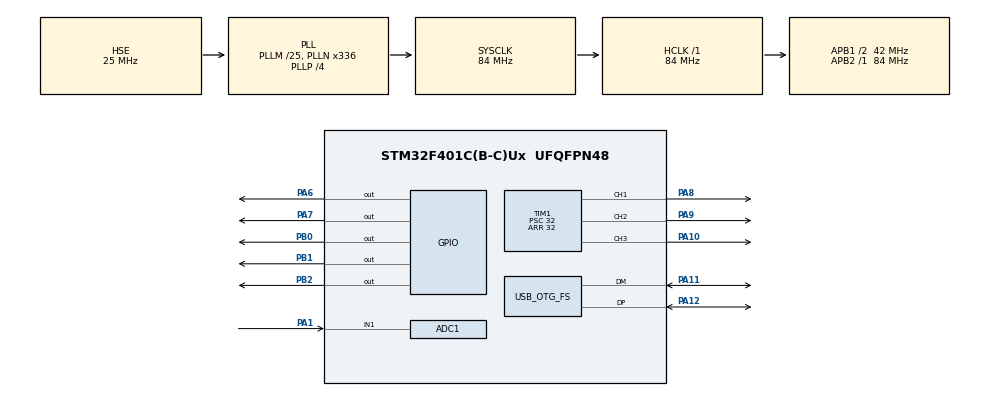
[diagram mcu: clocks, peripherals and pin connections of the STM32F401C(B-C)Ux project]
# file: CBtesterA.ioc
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ADC1.Channel-0\#ChannelRegularConversion=ADC_CHANNEL_1
ADC1.ClockPrescaler=ADC_CLOCK_SYNC_PCLK_DIV4
ADC1.DMAContinuousRequests=DISABLE
ADC1.ExternalTrigConv=ADC_EXTERNALTRIGCONV_T2_TRGO
ADC1.NbrOfConversionFlag=1
ADC1.Rank-0\#ChannelRegularConversion=1
ADC1.Resolution=ADC_RESOLUTION_12B
ADC1.SamplingTime-0\#ChannelRegularConversion=ADC_SAMPLETIME_3CYCLES
ADC1.master=1
Dma.ADC1.0.Direction=DMA_PERIPH_TO_MEMORY
Dma.ADC1.0.FIFOMode=DMA_FIFOMODE_DISABLE
Dma.ADC1.0.Instance=DMA2_Stream0
Dma.ADC1.0.MemDataAlignment=DMA_MDATAALIGN_HALFWORD
Dma.ADC1.0.MemInc=DMA_MINC_ENABLE
Dma.ADC1.0.Mode=DMA_CIRCULAR
Dma.ADC1.0.PeriphDataAlignment=DMA_PDATAALIGN_HALFWORD
Dma.ADC1.0.PeriphInc=DMA_PINC_DISABLE
Dma.ADC1.0.Priority=DMA_PRIORITY_LOW
Dma.Request0=ADC1
Mcu.Family=STM32F4
Mcu.Name=STM32F401C(B-C)Ux
Mcu.Package=UFQFPN48
NVIC.ADC_IRQn=true\:0\:0\:false\:false\:true\:true\:true\:true
NVIC.DMA2_Stream0_IRQn=true\:0\:0\:false\:false\:true\:false\:true\:true
NVIC.OTG_FS_IRQn=true\:0\:0\:false\:false\:true\:false\:true\:true
NVIC.PriorityGroup=NVIC_PRIORITYGROUP_4
PA1.Signal=ADCx_IN1
PA10.Signal=S_TIM1_CH3
PA11.Mode=Device_Only
PA11.Signal=USB_OTG_FS_DM
PA12.Mode=Device_Only
PA12.Signal=USB_OTG_FS_DP
PA6.PinState=GPIO_PIN_SET
PA6.Signal=GPIO_Output
PA7.PinState=GPIO_PIN_RESET
PA7.Signal=GPIO_Output
PA8.Signal=S_TIM1_CH1
PA9.Signal=S_TIM1_CH2
PB0.Signal=GPIO_Output
PB1.PinState=GPIO_PIN_SET
PB1.Signal=GPIO_Output
PB2.PinState=GPIO_PIN_SET
PB2.Signal=GPIO_Output
PH0\ -\ OSC_IN.Mode=HSE-External-Oscillator
PH0\ -\ OSC_IN.Signal=RCC_OSC_IN
PH1\ -\ OSC_OUT.Mode=HSE-External-Oscillator
PH1\ -\ OSC_OUT.Signal=RCC_OSC_OUT
ProjectManager.HeapSize=0x200
ProjectManager.StackSize=0x400
ProjectManager.TargetToolchain=STM32CubeIDE
RCC.48MHZClocksFreq_Value=48000000
RCC.AHBFreq_Value=84000000
RCC.APB1CLKDivider=RCC_HCLK_DIV2
RCC.APB1Freq_Value=42000000
RCC.APB1TimFreq_Value=84000000
RCC.APB2Freq_Value=84000000
RCC.APB2TimFreq_Value=84000000
RCC.CortexFreq_Value=84000000
RCC.HCLKFreq_Value=84000000
RCC.HSE_VALUE=25000000
RCC.HSI_VALUE=16000000
RCC.LSE_VALUE=32768
RCC.PLLM=25
RCC.PLLN=336
RCC.PLLP=RCC_PLLP_DIV4
RCC.PLLQ=7
RCC.SYSCLKFreq_VALUE=84000000
RCC.SYSCLKSource=RCC_SYSCLKSOURCE_PLLCLK
RCC.VCOOutputFreq_Value=336000000
SH.ADCx_IN1.0=ADC1_IN1,IN1
SH.S_TIM1_CH1.0=TIM1_CH1,PWM Generation1 CH1
SH.S_TIM1_CH2.0=TIM1_CH2,PWM Generation2 CH2
SH.S_TIM1_CH3.0=TIM1_CH3,PWM Generation3 CH3
TIM1.AutoReloadPreload=TIM_AUTORELOAD_PRELOAD_ENABLE
TIM1.Channel-PWM\ Generation1\ CH1=TIM_CHANNEL_1
TIM1.Channel-PWM\ Generation2\ CH2=TIM_CHANNEL_2
TIM1.Channel-PWM\ Generation3\ CH3=TIM_CHANNEL_3
TIM1.Period=32
TIM1.Prescaler=32
TIM1.Pulse-PWM\ Generation1\ CH1=8
TIM1.Pulse-PWM\ Generation2\ CH2=8
TIM2.AutoReloadPreload=TIM_AUTORELOAD_PRELOAD_ENABLE
TIM2.Period=50
TIM2.Prescaler=128
TIM2.TIM_MasterOutputTrigger=TIM_TRGO_UPDATE
USB_DEVICE.CLASS_NAME_FS=CDC
USB_DEVICE.VirtualMode=Cdc
USB_DEVICE.VirtualModeFS=Cdc_FS
USB_OTG_FS.VirtualMode=Device_Only
VP_TIM1_VS_ClockSourceINT.Mode=Internal
VP_TIM2_VS_ClockSourceINT.Mode=Internal
VP_USB_DEVICE_VS_USB_DEVICE_CDC_FS.Mode=CDC_FS
board=custom

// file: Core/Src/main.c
/* USER CODE BEGIN Header */
/**
  ******************************************************************************
  * @file           : main.c
  * @brief          : Main program body
  ******************************************************************************
  * @attention
  *
  * This [signal_gen] branch does not have complete code of CBTester functionalities. Switch to TCT branch
  * for the full CBTester codes.
  *
  * This code is written for BlackPill STM32F401CCU6 which has USB-C connector.
  * It also has DFU out of the box. But it does not work on Win7 Laptop properly.
  * USB DFU Mode once or twice, When I activated CDC USB VCP, after that Win7
  * cannot identify the DFU device. But the VCP is okay.
  *
  * This branch called signal_gen is for generating signals by receiving an array data from
  * VCP. Callback upon data receive is in static int8_t CDC_Receive_FS(uint8_t* Buf, uint32_t *Len)
  * function from USB_DEVICE/App/usbd_cdc_if.c file. Need to receive 100 to 200 integer or float data
  * to an array.
  *
  *
  *
  *
  ******************************************************************************
  */
#include "usbd_cdc_if.h"
extern __IO uint32_t uwTick;
/* USER CODE END Header */
#include "main.h"
#include "usb_device.h"

ADC_HandleTypeDef hadc1;
DMA_HandleTypeDef hdma_adc1;

TIM_HandleTypeDef htim1;
TIM_HandleTypeDef htim2;

void SystemClock_Config(void);
static void MX_GPIO_Init(void);
static void MX_DMA_Init(void);
static void MX_ADC1_Init(void);
static void MX_TIM2_Init(void);
static void MX_TIM1_Init(void);

/* USER CODE BEGIN 0 */

typedef struct __SEQUENCE
{
	int stone1;
	int duration1;
	int stone2;
	int duration2;
	int stone3;
	int duration3;
} PULSEQUENCE;

//PULSEQUENCE pulses = {1000, 10, 1330, 15, 1650, 18};

PULSEQUENCE pulses = {160, 10, 330, 15, 550, 18};

uint32_t mscount = 0;
uint32_t _pulse_count = 0;

uint8_t usb_rx_buffer[64];
volatile uint8_t flag_usbrx = 0;
int rx_buffer_content_size = 0;

char strA1[50];
volatile uint16_t ad1_raw[5];
const int adcChannelCount = 1;
volatile int adcConversionComplete = 0;
volatile uint32_t millis = 0;
volatile uint32_t conv_rate = 0;
volatile uint32_t ad1_audio = 0;

uint32_t buf_idx = 0;
uint8_t buf_num = 1;
uint32_t buf1[5000];
uint32_t buf2[5000];

uint8_t flag_pulse_out = 0;
uint32_t *buf = buf2;

long map(long x, long in_min, long in_max, long out_min, long out_max)
{
  return (x - in_min) * (out_max - out_min) / (in_max - in_min) + out_min;
}

void DMA_ADC_Complete(DMA_HandleTypeDef *_hdma)
{

}

static float ADC_OLD_Value;
static float P_k1_k1;

//static float Q = 0.0001;//Q: Regulation noise, Q increases, dynamic response becomes faster, and convergence stability becomes worse
static float Q = 0.0005;//Q: Regulation noise, Q increases, dynamic response becomes faster, and convergence stability becomes worse
//static float R = 0.005; //R: Test noise, R increases, dynamic response becomes slower, convergence stability becomes better
static float R = 0.2;
static float Kg = 0;
static float P_k_k1 = 0.5;
static float kalman_adc_old=0;
static int kalman_adc_int = 0;

uint8_t  trip1 = 0;

unsigned long kalman_filter(unsigned long ADC_Value)
{
    float x_k1_k1,x_k_k1;
    //static float ADC_OLD_Value;
    float Z_k;

    float kalman_adc;

    Z_k = ADC_Value;
    x_k1_k1 = kalman_adc_old;

    x_k_k1 = x_k1_k1;
    P_k_k1 = P_k1_k1 + Q;

    Kg = P_k_k1/(P_k_k1 + R);

    kalman_adc = x_k_k1 + Kg * (Z_k - kalman_adc_old);
    P_k1_k1 = (1 - Kg)*P_k_k1;
    P_k_k1 = P_k1_k1;

    ADC_OLD_Value = ADC_Value;
    kalman_adc_old = kalman_adc;
    kalman_adc_int = (int)kalman_adc;
    return kalman_adc;
}

void HAL_ADC_ConvCpltCallback(ADC_HandleTypeDef* hadc)
{
	adcConversionComplete = 1;
	conv_rate++;
	ad1_audio = ad1_raw[0]; //32;
	//TIM1->CCR1 = ad1_audio;

	if(buf_num == 1)
	{
		if(buf_idx < 2000)
		{
			buf1[buf_idx] = ad1_audio;
			// <PWM OUTPUT> TIM1->CCR1 = kalman_filter(buf2[buf_idx]);
			kalman_adc_int = kalman_filter(buf2[buf_idx]);
			buf_idx++;
		}
		else
		{
			buf_num = 2;
			buf_idx = 0;
		}
	}
	else if(buf_num == 2)
	{
		if(buf_idx < 2000)
		{
			buf2[buf_idx] = ad1_audio;
			// <PWM OUTPUT> TIM1->CCR1 = kalman_filter(buf1[buf_idx]);
			kalman_adc_int = kalman_filter(buf1[buf_idx]);
			buf_idx++;
		}
		else
		{
			buf_num = 1;
			buf_idx = 0;
		}
	}

	if(kalman_adc_int > 320)
	{
		trip1 = 1;
		//HAL_GPIO_WritePin(GPIOB, GPIO_PIN_0, GPIO_PIN_SET);

		//flag_pulse_out = 1;
	}

	HAL_ADC_Start_DMA(&hadc1, (uint32_t *)ad1_raw, adcChannelCount);

}

/**************************
 * Following callback did not worked. It was referenced from drive.google/ARM/docs.drop/PRIMARY/ARM-CMSIS-7.html
 * Documentation. Please update the docs in the proper places. This callback may work by applying proper
 * configuration. Instead we are using HAL_GetTick() which is same as millis(). To enable this callback to work
 * add HAL_SYSTICK_IRQHandler(); to stm32f4xx_it.c -> void SysTick_Handler(void)
 */
#define MAX_PWM_ALL		20
uint32_t _pwm_slope = 0;
void HAL_SYSTICK_Callback(void)
{
	if(flag_pulse_out == 1)
	{
		millis++;

		if(millis > pulses.stone3)
		{
			if(_pulse_count < pulses.duration3)
			{
				_pulse_count++;
				if(_pulse_count < pulses.duration3)
				{
					if(_pwm_slope < MAX_PWM_ALL)
					{
						_pwm_slope += (MAX_PWM_ALL / pulses.duration3);
						TIM1->CCR2 = _pwm_slope;
					}
				}
				else
				{
					TIM1->CCR2 = 0;

					// END THIS PULSE SEQUENCE
					_pwm_slope = 0;
					flag_pulse_out = 0;
					millis = 0;
					_pulse_count = 0;
					trip1 = 1;
					HAL_GPIO_WritePin(GPIOB, GPIO_PIN_0, GPIO_PIN_SET);
					//// TEST HAL_GPIO_WritePin(GPIOB, GPIO_PIN_1, GPIO_PIN_RESET);
				}
			}
		}
		else if(millis > pulses.stone2)
		{
			if(_pulse_count < pulses.duration2)
			{
				_pulse_count++;
				if(_pulse_count < pulses.duration2)
				{
					if(_pwm_slope < MAX_PWM_ALL)
					{
						_pwm_slope += ((MAX_PWM_ALL / pulses.duration2) + 1);
						TIM1->CCR3 = _pwm_slope;
					}
				}
				else
				{
					TIM1->CCR3 = 0;
					_pwm_slope = 0;
				}
			}

			if(millis == (pulses.stone2 + 100))
			{
				trip1 = 1;
				HAL_GPIO_WritePin(GPIOB, GPIO_PIN_0, GPIO_PIN_RESET);
			}

			if(millis == pulses.stone3)
			{
				_pulse_count = 0;
//				trip1 = 1;
//				HAL_GPIO_WritePin(GPIOB, GPIO_PIN_0, GPIO_PIN_SET);
			}
		}
		else if(millis > pulses.stone1)
		{
			if(_pulse_count < pulses.duration1)
			{
				_pulse_count++;
				if(_pulse_count < pulses.duration1)
				{
					if(_pwm_slope < MAX_PWM_ALL)
					{
						_pwm_slope += ((MAX_PWM_ALL / pulses.duration1) + 1);
						TIM1->CCR1 = _pwm_slope;
					}
					HAL_GPIO_WritePin(GPIOB, GPIO_PIN_0, GPIO_PIN_RESET);
					//// TEST HAL_GPIO_WritePin(GPIOB, GPIO_PIN_1, GPIO_PIN_RESET);
				}
				else
				{
					TIM1->CCR1 = 0;
					_pwm_slope = 0;
					trip1 = 1;
					//// TEST HAL_GPIO_WritePin(GPIOB, GPIO_PIN_0, GPIO_PIN_SET);
					//// TEST HAL_GPIO_WritePin(GPIOB, GPIO_PIN_1, GPIO_PIN_RESET);

					//// TEST HAL_GPIO_WritePin(GPIOA, GPIO_PIN_7, GPIO_PIN_SET);
					//// TEST HAL_GPIO_WritePin(GPIOA, GPIO_PIN_6, GPIO_PIN_SET);
				}
			}
			else
			{
				////TEST HAL_GPIO_WritePin(GPIOB, GPIO_PIN_0, GPIO_PIN_RESET);
				////TEST HAL_GPIO_WritePin(GPIOB, GPIO_PIN_1, GPIO_PIN_SET);
			}

			if(millis == pulses.stone2)
			{
				_pulse_count = 0;
			}
		}
	}

	if(flag_pulse_out == 2)
		{
			millis++;

			if(millis > pulses.stone3)
			{
				if(_pulse_count < pulses.duration3)
				{
					_pulse_count++;
					if(_pulse_count < pulses.duration3)
					{
						if(_pwm_slope < MAX_PWM_ALL)
						{
							_pwm_slope += (MAX_PWM_ALL / pulses.duration3);
							TIM1->CCR2 = _pwm_slope;
						}
					}
					else
					{
						TIM1->CCR2 = 0;

						// END THIS PULSE SEQUENCE
						_pwm_slope = 0;
						flag_pulse_out = 0;
						millis = 0;
						_pulse_count = 0;
						trip1 = 1;
						//// TEST HAL_GPIO_WritePin(GPIOB, GPIO_PIN_0, GPIO_PIN_SET);
						HAL_GPIO_WritePin(GPIOB, GPIO_PIN_1, GPIO_PIN_SET);
					}
				}
			}
			else if(millis > pulses.stone2)
			{
				if(_pulse_count < pulses.duration2)
				{
					_pulse_count++;
					if(_pulse_count < pulses.duration2)
					{
						if(_pwm_slope < MAX_PWM_ALL)
						{
							_pwm_slope += ((MAX_PWM_ALL / pulses.duration2) + 1);
							TIM1->CCR3 = _pwm_slope;
						}
					}
					else
					{
						TIM1->CCR3 = 0;
						_pwm_slope = 0;
					}
				}

				if(millis == (pulses.stone2 + 100))
				{
					trip1 = 1;
					HAL_GPIO_WritePin(GPIOB, GPIO_PIN_1, GPIO_PIN_RESET); //// TEST was PIN0
				}

				if(millis == pulses.stone3)
				{
					_pulse_count = 0;
	//				trip1 = 1;
	//				HAL_GPIO_WritePin(GPIOB, GPIO_PIN_0, GPIO_PIN_SET);
				}
			}
			else if(millis > pulses.stone1)
			{
				if(_pulse_count < pulses.duration1)
				{
					_pulse_count++;
					if(_pulse_count < pulses.duration1)
					{
						if(_pwm_slope < MAX_PWM_ALL)
						{
							_pwm_slope += ((MAX_PWM_ALL / pulses.duration1) + 1);
							TIM1->CCR1 = _pwm_slope;
						}
						//// TEST HAL_GPIO_WritePin(GPIOB, GPIO_PIN_0, GPIO_PIN_RESET);
						HAL_GPIO_WritePin(GPIOB, GPIO_PIN_1, GPIO_PIN_RESET);
					}
					else
					{
						TIM1->CCR1 = 0;
						_pwm_slope = 0;
						trip1 = 1;
						//// TEST HAL_GPIO_WritePin(GPIOB, GPIO_PIN_0, GPIO_PIN_SET);
						//// TEST HAL_GPIO_WritePin(GPIOB, GPIO_PIN_1, GPIO_PIN_RESET);

						//// TEST HAL_GPIO_WritePin(GPIOA, GPIO_PIN_7, GPIO_PIN_SET);
						//// TEST HAL_GPIO_WritePin(GPIOA, GPIO_PIN_6, GPIO_PIN_SET);
					}
				}
				else
				{
					////TEST HAL_GPIO_WritePin(GPIOB, GPIO_PIN_0, GPIO_PIN_RESET);
					////TEST HAL_GPIO_WritePin(GPIOB, GPIO_PIN_1, GPIO_PIN_SET);
				}

				if(millis == pulses.stone2)
				{
					_pulse_count = 0;
				}
			}
		}
}

void enableTriggerOut(char *buff)
{
	if(buff[0] == '1')
	{
		flag_pulse_out = 1;
	}

	if(buff[0] == '2')
	{
		flag_pulse_out = 2;
	}
}

/* USER CODE END 0 */

int main(void)
{
  /* USER CODE BEGIN 1 */

  uint32_t a_shot = 0;
  uint32_t b_shot = 0;

  /* USER CODE END 1 */

  /* MCU Configuration--------------------------------------------------------*/

  /* Reset of all peripherals, Initializes the Flash interface and the Systick. */
  HAL_Init();

  /* Configure the system clock */
  SystemClock_Config();

  /* Initialize all configured peripherals */
  MX_GPIO_Init();
  MX_DMA_Init();
  MX_ADC1_Init();
  MX_TIM2_Init();
  MX_USB_DEVICE_Init();
  MX_TIM1_Init();
  /* USER CODE BEGIN 2 */

  	 //// TESTING
  ////HAL_GPIO_WritePin(GPIOB, GPIO_PIN_1|GPIO_PIN_2, GPIO_PIN_RESET);
  /*Configure GPIO pin Output Level */
    HAL_GPIO_WritePin(GPIOA, GPIO_PIN_6, GPIO_PIN_SET);
    /*Configure GPIO pin Output Level */
    HAL_GPIO_WritePin(GPIOA, GPIO_PIN_7, GPIO_PIN_SET);
    /*Configure GPIO pin Output Level */
    HAL_GPIO_WritePin(GPIOB, GPIO_PIN_0, GPIO_PIN_SET);

  //HAL_DMA_Start_IT(&hdma_adc1, SrcAddress, DstAddress, DataLength);

  HAL_ADC_Start_DMA(&hadc1, (uint32_t *)ad1_raw, adcChannelCount);

  HAL_TIM_Base_Start(&htim2);

  // <PWM OUTPUT>
  HAL_TIM_PWM_Start(&htim1, TIM_CHANNEL_1);
  HAL_TIM_PWM_Start(&htim1, TIM_CHANNEL_2);
  HAL_TIM_PWM_Start(&htim1, TIM_CHANNEL_3);

  TIM1->CCR1 = 0;
  b_shot = HAL_GetTick();
  HAL_Delay(1);
  TIM1->CCR1 = 0;
  TIM1->CCR2 = 0;
  TIM1->CCR3 = 0;

  // <NO NEED> CDC_Init_FS();

  /* USER CODE END 2 */

  /* Infinite loop */
  /* USER CODE BEGIN WHILE */
  while (1)
  {
	  if(HAL_GetTick() > (a_shot + 1000))
	  {
		  a_shot = HAL_GetTick();
		  if(adcConversionComplete == 1)
		  {
			  adcConversionComplete = 0;
			  //ad1_audio = ad1_raw[0] / 32; // map(ad1_raw[1], 0, 4096, 0, 254);
			  //sprintf(strA1, "A1:%d,Rate:%d,Map:%d\n", ad1_raw[0], conv_rate, ad1_audio);
			  sprintf(strA1, "A1:%d,Kalman:%d,Map:%d,Rate:%d\n", ad1_raw[0], kalman_adc_int, ad1_audio, conv_rate); // @suppress("Float formatting support")
			  CDC_Transmit_FS(strA1, strlen(strA1));
			  conv_rate = 0;
			  //TIM1->CCR1 = ad1_audio;

			  //In the video example following function is called at the end of every conversion.
			  //But my goal is to start the conversion from the trigger of the TIM2
			  //HAL_ADC_Start_DMA(&hadc1, (uint32_t *)ad1_raw, adcChannelCount);
		  }

		  //// CDC_Transmit_FS(".", 1);
	  }

	  if(HAL_GetTick() > (b_shot + 3000))
	  {
		  b_shot = HAL_GetTick();

		  //TIM1->CCR1 = 250;
		  //HAL_Delay(10);
		  //TIM1->CCR1 = 0;

		  //HAL_GPIO_WritePin(GPIOB, GPIO_PIN_0, GPIO_PIN_RESET);

		  //HAL_GPIO_TogglePin(GPIOB, GPIO_PIN_0);

		  //ad1_audio = ad1_raw[0] / 32;
		  //TIM1->CCR1 = ad1_audio;
	  }

	  if(flag_usbrx == 1)
	  {
		  CDC_Transmit_FS(usb_rx_buffer, strlen(usb_rx_buffer));
		  flag_usbrx = 0;
		  enableTriggerOut(usb_rx_buffer);
	  }

    /* USER CODE END WHILE */

  }
}

void SystemClock_Config(void)
{
  RCC_OscInitTypeDef RCC_OscInitStruct = {0};
  RCC_ClkInitTypeDef RCC_ClkInitStruct = {0};

  /** Configure the main internal regulator output voltage
  */
  __HAL_RCC_PWR_CLK_ENABLE();
  __HAL_PWR_VOLTAGESCALING_CONFIG(PWR_REGULATOR_VOLTAGE_SCALE2);

  /** Initializes the RCC Oscillators according to the specified parameters
  * in the RCC_OscInitTypeDef structure.
  */
  RCC_OscInitStruct.OscillatorType = RCC_OSCILLATORTYPE_HSE;
  RCC_OscInitStruct.HSEState = RCC_HSE_ON;
  RCC_OscInitStruct.PLL.PLLState = RCC_PLL_ON;
  RCC_OscInitStruct.PLL.PLLSource = RCC_PLLSOURCE_HSE;
  RCC_OscInitStruct.PLL.PLLM = 25;
  RCC_OscInitStruct.PLL.PLLN = 336;
  RCC_OscInitStruct.PLL.PLLP = RCC_PLLP_DIV4;
  RCC_OscInitStruct.PLL.PLLQ = 7;
  if (HAL_RCC_OscConfig(&RCC_OscInitStruct) != HAL_OK)
  {
    Error_Handler();
  }

  /** Initializes the CPU, AHB and APB buses clocks
  */
  RCC_ClkInitStruct.ClockType = RCC_CLOCKTYPE_HCLK|RCC_CLOCKTYPE_SYSCLK
                              |RCC_CLOCKTYPE_PCLK1|RCC_CLOCKTYPE_PCLK2;
  RCC_ClkInitStruct.SYSCLKSource = RCC_SYSCLKSOURCE_PLLCLK;
  RCC_ClkInitStruct.AHBCLKDivider = RCC_SYSCLK_DIV1;
  RCC_ClkInitStruct.APB1CLKDivider = RCC_HCLK_DIV2;
  RCC_ClkInitStruct.APB2CLKDivider = RCC_HCLK_DIV1;

  if (HAL_RCC_ClockConfig(&RCC_ClkInitStruct, FLASH_LATENCY_2) != HAL_OK)
  {
    Error_Handler();
  }
}

static void MX_ADC1_Init(void)
{

  ADC_ChannelConfTypeDef sConfig = {0};

  /** Configure the global features of the ADC (Clock, Resolution, Data Alignment and number of conversion)
  */
  hadc1.Instance = ADC1;
  hadc1.Init.ClockPrescaler = ADC_CLOCK_SYNC_PCLK_DIV4;
  hadc1.Init.Resolution = ADC_RESOLUTION_12B;
  hadc1.Init.ScanConvMode = DISABLE;
  hadc1.Init.ContinuousConvMode = DISABLE;
  hadc1.Init.DiscontinuousConvMode = DISABLE;
  hadc1.Init.ExternalTrigConvEdge = ADC_EXTERNALTRIGCONVEDGE_RISING;
  hadc1.Init.ExternalTrigConv = ADC_EXTERNALTRIGCONV_T2_TRGO;
  hadc1.Init.DataAlign = ADC_DATAALIGN_RIGHT;
  hadc1.Init.NbrOfConversion = 1;
  hadc1.Init.DMAContinuousRequests = DISABLE;
  hadc1.Init.EOCSelection = ADC_EOC_SINGLE_CONV;
  if (HAL_ADC_Init(&hadc1) != HAL_OK)
  {
    Error_Handler();
  }

  /** Configure for the selected ADC regular channel its corresponding rank in the sequencer and its sample time.
  */
  sConfig.Channel = ADC_CHANNEL_1;
  sConfig.Rank = 1;
  sConfig.SamplingTime = ADC_SAMPLETIME_3CYCLES;
  if (HAL_ADC_ConfigChannel(&hadc1, &sConfig) != HAL_OK)
  {
    Error_Handler();
  }

}

static void MX_TIM1_Init(void)
{

  TIM_ClockConfigTypeDef sClockSourceConfig = {0};
  TIM_MasterConfigTypeDef sMasterConfig = {0};
  TIM_OC_InitTypeDef sConfigOC = {0};
  TIM_BreakDeadTimeConfigTypeDef sBreakDeadTimeConfig = {0};

  htim1.Instance = TIM1;
  htim1.Init.Prescaler = 32;
  htim1.Init.CounterMode = TIM_COUNTERMODE_UP;
  htim1.Init.Period = 32;
  htim1.Init.ClockDivision = TIM_CLOCKDIVISION_DIV1;
  htim1.Init.RepetitionCounter = 0;
  htim1.Init.AutoReloadPreload = TIM_AUTORELOAD_PRELOAD_ENABLE;
  if (HAL_TIM_Base_Init(&htim1) != HAL_OK)
  {
    Error_Handler();
  }
  sClockSourceConfig.ClockSource = TIM_CLOCKSOURCE_INTERNAL;
  if (HAL_TIM_ConfigClockSource(&htim1, &sClockSourceConfig) != HAL_OK)
  {
    Error_Handler();
  }
  if (HAL_TIM_PWM_Init(&htim1) != HAL_OK)
  {
    Error_Handler();
  }
  sMasterConfig.MasterOutputTrigger = TIM_TRGO_RESET;
  sMasterConfig.MasterSlaveMode = TIM_MASTERSLAVEMODE_DISABLE;
  if (HAL_TIMEx_MasterConfigSynchronization(&htim1, &sMasterConfig) != HAL_OK)
  {
    Error_Handler();
  }
  sConfigOC.OCMode = TIM_OCMODE_PWM1;
  sConfigOC.Pulse = 8;
  sConfigOC.OCPolarity = TIM_OCPOLARITY_HIGH;
  sConfigOC.OCNPolarity = TIM_OCNPOLARITY_HIGH;
  sConfigOC.OCFastMode = TIM_OCFAST_DISABLE;
  sConfigOC.OCIdleState = TIM_OCIDLESTATE_RESET;
  sConfigOC.OCNIdleState = TIM_OCNIDLESTATE_RESET;
  if (HAL_TIM_PWM_ConfigChannel(&htim1, &sConfigOC, TIM_CHANNEL_1) != HAL_OK)
  {
    Error_Handler();
  }
  if (HAL_TIM_PWM_ConfigChannel(&htim1, &sConfigOC, TIM_CHANNEL_2) != HAL_OK)
  {
    Error_Handler();
  }
  sConfigOC.Pulse = 0;
  if (HAL_TIM_PWM_ConfigChannel(&htim1, &sConfigOC, TIM_CHANNEL_3) != HAL_OK)
  {
    Error_Handler();
  }
  sBreakDeadTimeConfig.OffStateRunMode = TIM_OSSR_DISABLE;
  sBreakDeadTimeConfig.OffStateIDLEMode = TIM_OSSI_DISABLE;
  sBreakDeadTimeConfig.LockLevel = TIM_LOCKLEVEL_OFF;
  sBreakDeadTimeConfig.DeadTime = 0;
  sBreakDeadTimeConfig.BreakState = TIM_BREAK_DISABLE;
  sBreakDeadTimeConfig.BreakPolarity = TIM_BREAKPOLARITY_HIGH;
  sBreakDeadTimeConfig.AutomaticOutput = TIM_AUTOMATICOUTPUT_DISABLE;
  if (HAL_TIMEx_ConfigBreakDeadTime(&htim1, &sBreakDeadTimeConfig) != HAL_OK)
  {
    Error_Handler();
  }
  HAL_TIM_MspPostInit(&htim1);

}

static void MX_TIM2_Init(void)
{

  TIM_ClockConfigTypeDef sClockSourceConfig = {0};
  TIM_MasterConfigTypeDef sMasterConfig = {0};

  htim2.Instance = TIM2;
  htim2.Init.Prescaler = 128;
  htim2.Init.CounterMode = TIM_COUNTERMODE_UP;
  htim2.Init.Period = 50;
  htim2.Init.ClockDivision = TIM_CLOCKDIVISION_DIV1;
  htim2.Init.AutoReloadPreload = TIM_AUTORELOAD_PRELOAD_ENABLE;
  if (HAL_TIM_Base_Init(&htim2) != HAL_OK)
  {
    Error_Handler();
  }
  sClockSourceConfig.ClockSource = TIM_CLOCKSOURCE_INTERNAL;
  if (HAL_TIM_ConfigClockSource(&htim2, &sClockSourceConfig) != HAL_OK)
  {
    Error_Handler();
  }
  sMasterConfig.MasterOutputTrigger = TIM_TRGO_UPDATE;
  sMasterConfig.MasterSlaveMode = TIM_MASTERSLAVEMODE_DISABLE;
  if (HAL_TIMEx_MasterConfigSynchronization(&htim2, &sMasterConfig) != HAL_OK)
  {
    Error_Handler();
  }

}

static void MX_DMA_Init(void)
{

  /* DMA controller clock enable */
  __HAL_RCC_DMA2_CLK_ENABLE();

  /* DMA interrupt init */
  /* DMA2_Stream0_IRQn interrupt configuration */
  HAL_NVIC_SetPriority(DMA2_Stream0_IRQn, 0, 0);
  HAL_NVIC_EnableIRQ(DMA2_Stream0_IRQn);

}

static void MX_GPIO_Init(void)
{
  GPIO_InitTypeDef GPIO_InitStruct = {0};

  /* GPIO Ports Clock Enable */
  __HAL_RCC_GPIOH_CLK_ENABLE();
  __HAL_RCC_GPIOA_CLK_ENABLE();
  __HAL_RCC_GPIOB_CLK_ENABLE();

  /*Configure GPIO pin Output Level */
  HAL_GPIO_WritePin(GPIOA, GPIO_PIN_6, GPIO_PIN_RESET);

  /*Configure GPIO pin Output Level */
  HAL_GPIO_WritePin(GPIOA, GPIO_PIN_7, GPIO_PIN_RESET);

  /*Configure GPIO pin Output Level */
  HAL_GPIO_WritePin(GPIOB, GPIO_PIN_0, GPIO_PIN_RESET);

  /*Configure GPIO pin Output Level */
  HAL_GPIO_WritePin(GPIOB, GPIO_PIN_1|GPIO_PIN_2, GPIO_PIN_SET);

  /*Configure GPIO pins : PA6 PA7 */
  GPIO_InitStruct.Pin = GPIO_PIN_6|GPIO_PIN_7;
  GPIO_InitStruct.Mode = GPIO_MODE_OUTPUT_PP;
  GPIO_InitStruct.Pull = GPIO_NOPULL;
  GPIO_InitStruct.Speed = GPIO_SPEED_FREQ_LOW;
  HAL_GPIO_Init(GPIOA, &GPIO_InitStruct);

  /*Configure GPIO pins : PB0 PB1 PB2 */
  GPIO_InitStruct.Pin = GPIO_PIN_0|GPIO_PIN_1|GPIO_PIN_2;
  GPIO_InitStruct.Mode = GPIO_MODE_OUTPUT_PP;
  GPIO_InitStruct.Pull = GPIO_NOPULL;
  GPIO_InitStruct.Speed = GPIO_SPEED_FREQ_LOW;
  HAL_GPIO_Init(GPIOB, &GPIO_InitStruct);

}

void Error_Handler(void)
{
  __disable_irq();
  while (1)
  {
  }
}
